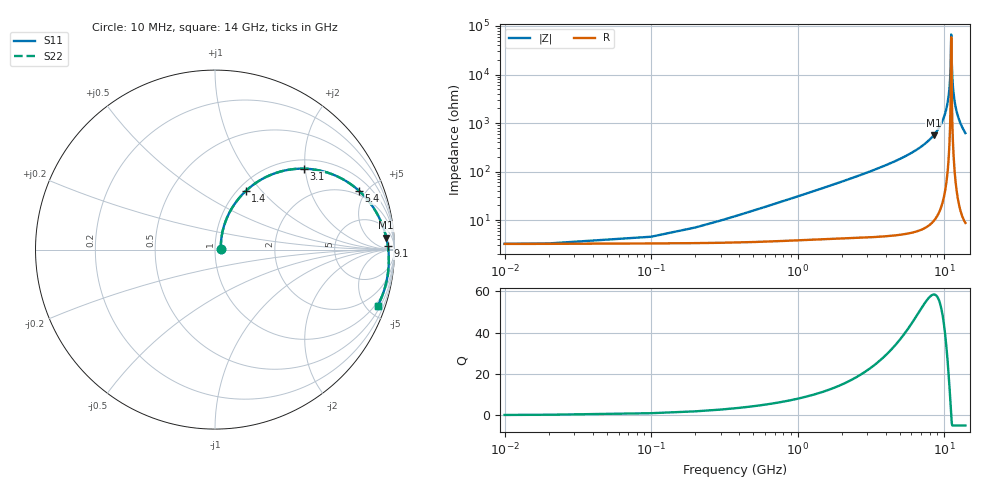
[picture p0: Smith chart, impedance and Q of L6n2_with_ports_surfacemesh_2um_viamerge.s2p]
#  GHZ S DB R 50.0
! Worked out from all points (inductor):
!   142 points, 10 MHz to 14 GHz, reference 50 ohm
!   read as one part in series: L = 4.85 nH near 400 MHz
!   highest Q = 58.5 at 8.5 GHz (marker M1), where L = 10.5 nH
!   self-resonance near 11.2 GHz
!   S11 on the Smith chart (normalised r, x): 10 MHz: 1.06, +0.01; 1.4 GHz: 1.09, +0.82; 3.1 GHz: 1.20, +1.97; 5.4 GHz: 1.70, +4.48; 9.1 GHz: 42, +22; 14 GHz: 0.74, -5.85
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0.01  -30.07 5.1  -0.28 -0.2  -0.28 -0.2  -30.07 5.1
0.3  -21.13 64.4  -0.34 -5.5  -0.34 -5.5  -21.13 64.4
0.5  -17.04 69.2  -0.43 -8.9  -0.43 -8.9  -17.04 69.2
1.4  -8.71 62.4  -1.07 -23.4  -1.07 -23.4  -8.71 62.4
2.4  -4.95 50.1  -2.22 -37.3  -2.22 -37.3  -4.95 50.1
3.1  -3.48 42.3  -3.23 -45.7  -3.23 -45.7  -3.48 42.3
4.7  -1.67 27.5  -5.96 -61.2  -5.96 -61.2  -1.67 27.5
5.4  -1.24 22.2  -7.30 -66.6  -7.30 -66.6  -1.24 22.2
7.1  -0.63 11.4  -11.10 -77.6  -11.10 -77.6  -0.63 11.4
8.5  -0.38 4.0  -15.26 -85.1  -15.26 -85.1  -0.39 4.0
9.1  -0.32 1.1  -17.64 -87.9  -17.64 -87.9  -0.32 1.1
9.4  -0.30 -0.3  -19.07 -89.2  -19.07 -89.2  -0.30 -0.3
10.3  -0.25 -4.3  -25.30 -92.6  -25.30 -92.6  -0.26 -4.3
10.8  -0.24 -6.4  -32.33 -93.1  -32.33 -93.1  -0.24 -6.4
11  -0.24 -7.2  -38.12 -91.1  -38.12 -91.1  -0.24 -7.2
11.1  -0.24 -7.7  -43.57 -86.4  -43.57 -86.4  -0.24 -7.6
11.2  -0.24 -8.1  -56.79 -36.5  -56.79 -36.5  -0.24 -8.1
11.3  -0.24 -8.5  -45.61 67.7  -45.61 67.7  -0.24 -8.5
11.4  -0.24 -8.9  -39.24 74.6  -39.24 74.6  -0.24 -8.9
11.7  -0.25 -10.1  -31.08 77.5  -31.08 77.5  -0.25 -10.1
12.5  -0.27 -13.3  -22.83 75.8  -22.83 75.8  -0.27 -13.3
14  -0.36 -19.1  -16.41 70.4  -16.41 70.4  -0.36 -19.1
